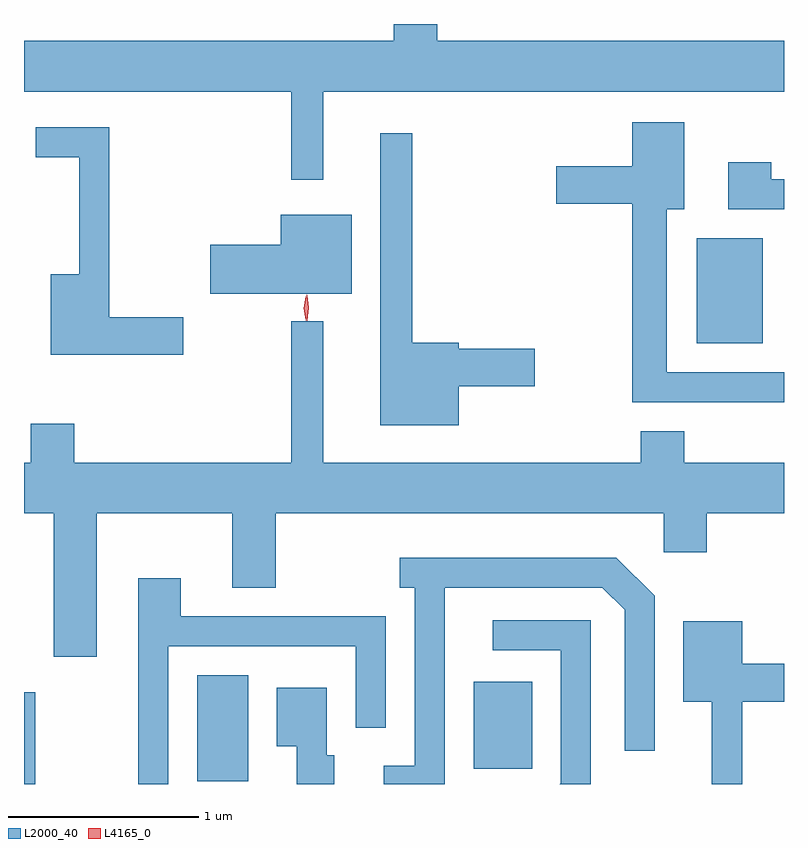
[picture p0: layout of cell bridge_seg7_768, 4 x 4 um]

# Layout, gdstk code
import gdstk
lib = gdstk.Library(unit=1e-6, precision=1e-09)
def R(c, l, rs):  # rectangles x0, y0, x1, y1
    for r in rs: c.add(gdstk.rectangle(r[:2], r[2:], *l))
def P(c, l, *ps):  # polygons
    for p in ps: c.add(gdstk.Polygon(p, *l))
L2000_40 = (2000, 40)
L4165_0 = (4165, 0)

bridge_seg7_768 = lib.new_cell('bridge_seg7_768')
R(bridge_seg7_768, L2000_40, [(243.175,1735.092,243.234,1735.574), (244.086,1735.106,244.354,1735.664), (245.541,1735.171,245.849,1735.629), (246.716,1737.411,247.064,1737.964)])
P(bridge_seg7_768, L2000_40, [(245.121,1739.092),(245.121,1739.004),(243.175,1739.004),(243.175,1738.736),(244.581,1738.736),(244.581,1738.273),(244.749,1738.273),(244.749,1738.736),(247.175,1738.736),(247.175,1739.004),(245.349,1739.004),(245.349,1739.092)],
  [(247.175,1737.259),(246.559,1737.259),(246.559,1738.116),(246.649,1738.116),(246.649,1738.574),(246.376,1738.574),(246.376,1738.344),(245.976,1738.344),(245.976,1738.146),(246.376,1738.146),(246.376,1737.101),(247.175,1737.101)],
  [(244.014,1737.549),(243.624,1737.549),(243.624,1738.549),(243.238,1738.549),(243.238,1738.391),(243.466,1738.391),(243.466,1737.774),(243.316,1737.774),(243.316,1737.351),(244.014,1737.351)],
  [(245.464,1737.186),(245.864,1737.186),(245.864,1737.384),(245.464,1737.384),(245.464,1737.414),(245.219,1737.414),(245.219,1738.518),(245.051,1738.518),(245.051,1736.981),(245.464,1736.981)],
  [(247.175,1738.274),(247.109,1738.274),(247.109,1738.364),(246.881,1738.364),(246.881,1738.116),(247.175,1738.116)],
  [(244.899,1738.089),(244.526,1738.089),(244.526,1737.929),(244.156,1737.929),(244.156,1737.671),(244.899,1737.671)],
  [(243.559,1736.516),(244.271,1736.516),(244.271,1736.126),(244.499,1736.126),(244.499,1736.516),(246.541,1736.516),(246.541,1736.311),(246.769,1736.311),(246.769,1736.516),(247.175,1736.516),(247.175,1736.784),(246.649,1736.784),(246.649,1736.949),(246.421,1736.949),(246.421,1736.784),(244.749,1736.784),(244.749,1737.528),(244.581,1737.528),(244.581,1736.784),(243.439,1736.784),(243.439,1736.989),(243.211,1736.989),(243.211,1736.784),(243.175,1736.784),(243.175,1736.516),(243.331,1736.516),(243.331,1735.761),(243.559,1735.761)],
  [(245.389,1736.126),(246.219,1736.126),(246.336,1736.009),(246.336,1735.268),(246.494,1735.268),(246.494,1736.082),(246.292,1736.284),(245.153,1736.284),(245.153,1736.126),(245.231,1736.126),(245.231,1735.189),(245.068,1735.189),(245.068,1735.092),(245.389,1735.092)],
  [(243.934,1735.816),(244.921,1735.816),(244.921,1735.388),(245.079,1735.388),(245.079,1735.974),(243.999,1735.974),(243.999,1736.174),(243.776,1736.174),(243.776,1735.092),(243.934,1735.092)],
  [(246.159,1735.954),(245.643,1735.954),(245.643,1735.796),(246.001,1735.796),(246.001,1735.097),(245.996,1735.092),(246.159,1735.092)],
  [(246.954,1735.526),(247.175,1735.526),(247.175,1735.724),(246.954,1735.724),(246.954,1735.949),(246.646,1735.949),(246.646,1735.526),(246.796,1735.526),(246.796,1735.092),(246.954,1735.092)],
  [(244.809,1735.244),(244.769,1735.244),(244.769,1735.599),(244.506,1735.599),(244.506,1735.291),(244.611,1735.291),(244.611,1735.092),(244.809,1735.092)])
P(bridge_seg7_768, L4165_0, [(244.658,1737.533),(244.658,1737.533),(244.648,1737.596),(244.657,1737.659),(244.658,1737.66),(244.658,1737.659),(244.668,1737.596),(244.659,1737.533)],
  [(244.664,1737.53),(244.655,1737.598),(244.664,1737.665),(244.664,1737.666),(244.665,1737.665),(244.674,1737.598),(244.665,1737.53),(244.665,1737.53)])

lib.write_gds('bridge_seg7_768.gds')
